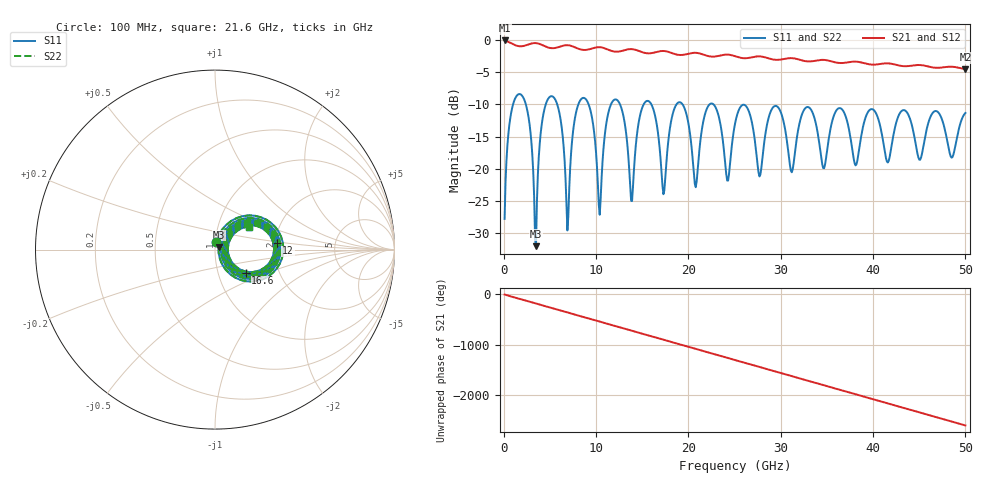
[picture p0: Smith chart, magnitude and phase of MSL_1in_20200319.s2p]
! www.PolarInstruments.com
! File Export V10.11 [9.03]
! For hxji@mail.xidian.edu.cn;QQ=47399897
! File : D:\SJTU\Bachelor\thesis\Multi-line\transmission-line-params-extractor\data\MSL_1in_20200319.s2p
! Polar  PCB Transmission Line Field Solver  v11.04.00
# MHz S RI R 50.00
! Line Length = 0.025m ( 1.00 inch )
!  PORT#  PORT#
!  Z1 = 50.00  Z2 = 50.00
!  1 --|  |-- 2
! PORT 1: INPUT NET 1
! PORT 2: OUTPUT NET 1
! FREQ  S11  S21  S12  S22
!  REAL  IMAG  REAL  IMAG  REAL  IMAG  REAL  IMAG
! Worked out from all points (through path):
!   500 points, 100 MHz to 50 GHz, reference 50 ohm
!   highest |S21| = -0.04 dB at 100 MHz (marker M1); lowest = -4.5 dB at 50 GHz (marker M2)
!   group delay of S21, straight-line fit = 144 ps
!   lowest |S11| = -32.1 dB at 3.5 GHz (marker M3), VSWR 1.05, Z = 52 + j1.56 ohm
!   |S11| at or under -10 dB: 15.99 GHz to 18.71 GHz (2.716 GHz wide, 15.7 % of centre); 19.37 GHz to 22.29 GHz (2.919 GHz wide, 14 % of centre); 22.72 GHz to end of sweep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
!   |S22| runs from -32.1 to -8.4 dB; largest |S21 - S12| = 0
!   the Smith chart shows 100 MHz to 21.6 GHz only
!   S11 on the Smith chart (normalised r, x): 100 MHz: 1.01, +0.08; 12 GHz: 2.03, +0.16; 16.6 GHz: 1.35, -0.37; 21.6 GHz: 1.41, +0.38
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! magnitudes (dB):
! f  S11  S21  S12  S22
! 100 MHz  -27.8  0.0  0.0  -27.8
! 1.8 GHz  -8.4  -1.0  -1.0  -8.4
! 3.5 GHz  -32.1  -0.5  -0.5  -32.1
! 4.7 GHz  -9.4  -1.1  -1.1  -9.4
! 6.9 GHz  -29.6  -0.8  -0.8  -29.6
! 8.5 GHz  -9.0  -1.5  -1.5  -9.0
! 10.4 GHz  -27.2  -1.1  -1.1  -27.2
! 12 GHz  -9.3  -1.8  -1.8  -9.3
! 13.8 GHz  -25.0  -1.4  -1.4  -25.0
! 15.1 GHz  -10.2  -1.9  -1.9  -10.2
! 16.6 GHz  -13.3  -1.8  -1.8  -13.3
! 16.8 GHz  -15.5  -1.8  -1.8  -15.5
! 17.3 GHz  -24.0  -1.7  -1.7  -24.0
! 19.3 GHz  -9.9  -2.3  -2.3  -9.9
! 20.8 GHz  -22.9  -2.0  -2.0  -22.9
! 21.6 GHz  -12.8  -2.2  -2.2  -12.8
! 24.3 GHz  -21.9  -2.2  -2.2  -21.9
! 25.1 GHz  -12.7  -2.5  -2.5  -12.7
! 31.2 GHz  -20.6  -2.8  -2.8  -20.6
! 33.4 GHz  -11.1  -3.3  -3.3  -11.1
! 41.7 GHz  -18.8  -3.6  -3.6  -18.8
! 50 GHz  -11.3  -4.5  -4.5  -11.3
